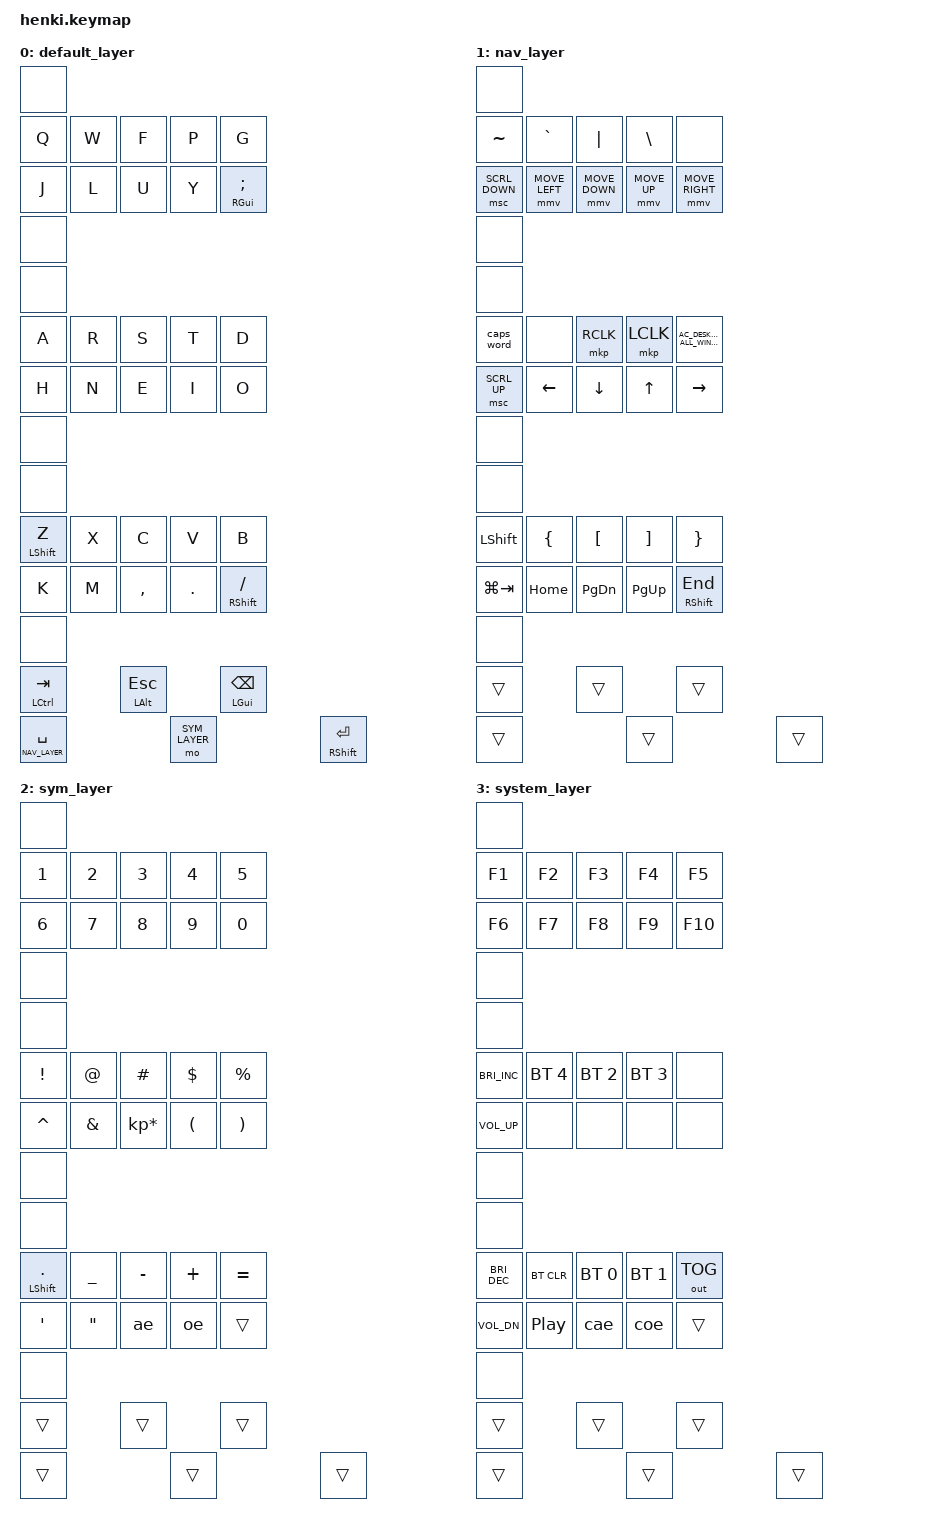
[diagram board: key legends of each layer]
/*
 * Copyright (c) 2020 The ZMK Contributors
 *
 * SPDX-License-Identifier: MIT
 */

/* Match Corne's cursor and scroll speeds. */
#define ZMK_POINTING_DEFAULT_MOVE_VAL 6000
#define ZMK_POINTING_DEFAULT_SCRL_VAL 40

#include <behaviors.dtsi>
#include <dt-bindings/zmk/keys.h>
#include <dt-bindings/zmk/bt.h>
#include <dt-bindings/zmk/outputs.h>

#include <dt-bindings/zmk/pointing.h>

#define NAV_LAYER 1
#define SYM_LAYER 2
#define SYSTEM_LAYER 3

&mmv {
    time-to-max-speed-ms = <500>;
};

&msc {
    time-to-max-speed-ms = <500>;
};

/ {
        behaviors {
                ht: holdtap {
                        compatible = "zmk,behavior-hold-tap";
                        label = "THUMB_HOLD_TAPS";
                        #binding-cells = <2>;
                        tapping-term-ms = <300>;
                        flavor = "balanced";
                        require-prior-idle-ms = <0>;
                        quick-tap-ms = <0>;
                        bindings = <&kp>, <&kp>;
                };
        };

        macros {
                ae: ae {
                        label = "ä";
                        compatible = "zmk,behavior-macro";
                        #binding-cells = <0>;
                        wait-ms = <40>;
                        tap-ms = <40>;
                        bindings
                                = <&macro_press &kp LALT>
                                , <&macro_tap &kp U>
                                , <&macro_release &kp LALT>
                                , <&macro_tap &kp A>
                                ;
                };
                oe: oe {
                        label = "ö";
                        compatible = "zmk,behavior-macro";
                        #binding-cells = <0>;
                        wait-ms = <40>;
                        tap-ms = <40>;
                        bindings
                                = <&macro_press &kp LALT>
                                , <&macro_tap &kp U>
                                , <&macro_release &kp LALT>
                                , <&macro_tap &kp O>
                                ;
                };
                cae: cae {
                        label = "Ä";
                        compatible = "zmk,behavior-macro";
                        #binding-cells = <0>;
                        wait-ms = <40>;
                        tap-ms = <40>;
                        bindings
                                = <&macro_press &kp LALT>
                                , <&macro_tap &kp U>
                                , <&macro_release &kp LALT>
                                , <&macro_press &kp LSHFT>
                                , <&macro_tap &kp A>
                                , <&macro_release &kp LSHFT>
                                ;
                };
                coe: coe {
                        label = "Ö";
                        compatible = "zmk,behavior-macro";
                        #binding-cells = <0>;
                        wait-ms = <40>;
                        tap-ms = <40>;
                        bindings
                                = <&macro_press &kp LALT>
                                , <&macro_tap &kp U>
                                , <&macro_release &kp LALT>
                                , <&macro_press &kp LSHFT>
                                , <&macro_tap &kp O>
                                , <&macro_release &kp LSHFT>
                                ;
                };
        };

        
        combos {
                compatible = "zmk,combos";
                combo_mo1 {
                    timeout-ms = <50>;
                    key-positions = <39 40>;
                    bindings = <&mo SYSTEM_LAYER>;
                };
        };

        keymap {
                compatible = "zmk,keymap";

                default_layer {
                        bindings = <
   &none
   &kp Q &kp W &kp F &kp P &kp G   
   &kp J &kp L &kp U &kp Y &ht RGUI SEMI
   &none

   &none
   &kp A &kp R &kp S &kp T &kp D
   &kp H &kp N &kp E &kp I &kp O
   &none

   &none
   &ht LSHFT Z &kp X &kp C &kp V &kp B
   &kp K &kp M  &kp COMMA &kp DOT &ht RSHFT FSLH 
   &none

   &ht LCTRL TAB &ht LALT ESC &ht LGUI BSPC   
   &lt NAV_LAYER SPACE &mo SYM_LAYER &ht RSHFT RET
                        >;
                };

                nav_layer {
                        bindings = <
   &none 
   &kp TILDE &kp GRAVE &kp PIPE &kp BSLH &none
   &msc SCRL_DOWN &mmv MOVE_LEFT &mmv MOVE_DOWN &mmv MOVE_UP &mmv MOVE_RIGHT 
   &none

   &none 
   &caps_word &none &mkp RCLK &mkp LCLK &kp C_AC_DESKTOP_SHOW_ALL_WINDOWS
   &msc SCRL_UP &kp LEFT &kp DOWN &kp UP &kp RIGHT 
   &none

   &none
   &kp LSHFT &kp LBRC &kp LBKT &kp RBKT &kp RBRC
   &kp LG(TAB) &kp HOME &kp PG_DN &kp PG_UP &ht RSHFT END
   &none

   &trans &trans &trans
   &trans &trans &trans
                        >;
                };

                sym_layer {
                        bindings = <
   &none
   &kp N1 &kp N2 &kp N3 &kp N4 &kp N5
   &kp N6 &kp N7 &kp N8 &kp N9 &kp N0
   &none

   &none
   &kp EXCL &kp AT &kp HASH &kp DLLR &kp PRCNT   
   &kp CARET &kp AMPS  &kp KP_MULTIPLY &kp LPAR &kp RPAR
   &none

   &none
   &ht LSHFT DOT &kp UNDER &kp MINUS &kp PLUS &kp EQUAL  
   &kp APOS &kp DQT &ae &oe &trans
   &none

   &trans &trans &trans
   &trans &trans &trans
                        >;
                };

                system_layer {
                        bindings = <
   &none
   &kp F1 &kp F2 &kp F3 &kp F4 &kp F5 
   &kp F6 &kp F7 &kp F8 &kp F9 &kp F10
   &none

   &none
   &kp C_BRIGHTNESS_INC &bt BT_SEL 4 &bt BT_SEL 2 &bt BT_SEL 3 &none
   &kp C_VOL_UP &none &none &none &none
   &none

   &none
   &kp C_BRIGHTNESS_DEC &bt BT_CLR &bt BT_SEL 0 &bt BT_SEL 1 &out OUT_TOG
   &kp C_VOL_DN &kp C_PLAY_PAUSE &cae &coe &trans
   &none 

   &trans &trans &trans
   &trans &trans &trans
                        >;
                };

        };
};
